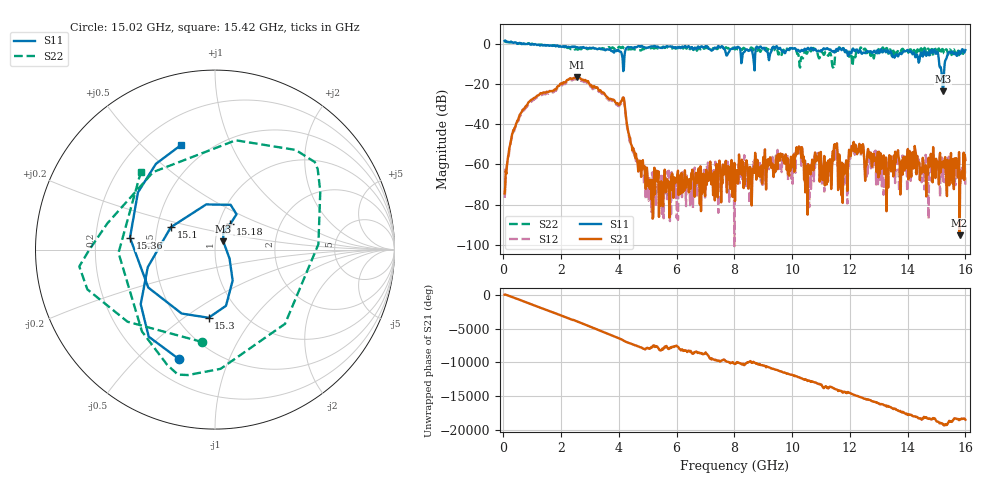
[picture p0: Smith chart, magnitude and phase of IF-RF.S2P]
! C:\Users\Aljaz\OneDrive - Univerza v Ljubljani\DOKTORAT\NOVI SA\MIX1\IF-RF.S2P
! Touchstone 1.1 file saved by VNA.EXE V1.65 (www.ke5fx.com/gpib/readme.htm)
! 23. 07. 2022 09:35:56
!  Source: HP8510C.07.14: Aug 26  1998
!  Min freq: 4.500000E+007 Hz
!  Max freq: 1.600000E+010 Hz
!  Points: 801
!  Params: S11 S21 S12 S22
# GHZ S DB R 50
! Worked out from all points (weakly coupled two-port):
!   801 points, 45 MHz to 16 GHz, reference 50 ohm
!   highest |S21| = -16.57 dB at 2.558 GHz (marker M1); lowest = -95.3 dB at 15.8 GHz (marker M2)
!   lowest |S11| = -23.7 dB at 15.22 GHz (marker M3), VSWR 1.14, Z = 54.5 + j5.17 ohm
!   |S11| at or under -10 dB: 4.14 GHz to 4.182 GHz (41.47 MHz wide, 0.996 % of centre); 8.680172 GHz to 8.709179 GHz (29.01 MHz wide, 0.334 % of centre); 15.09 GHz to 15.28 GHz (187.2 MHz wide, 1.23 % of centre)
!   |S22| runs from -12.4 to 1.3 dB; largest |S21 - S12| = 0.12
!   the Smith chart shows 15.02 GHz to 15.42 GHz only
!   S11 on the Smith chart (normalised r, x): 15.02 GHz: 0.32, -0.67; 15.1 GHz: 0.59, +0.16; 15.18 GHz: 1.13, +0.33; 15.3 GHz: 0.70, -0.62; 15.36 GHz: 0.35, +0.06; 15.42 GHz: 0.36, +0.66
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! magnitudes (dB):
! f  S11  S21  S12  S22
! 45 MHz  1.4  -74.4  -76.6  1.3
! 643.3 MHz  -0.2  -33.8  -34.4  0.1
! 2.558 GHz  -1.7  -16.6  -17.3  -2.8
! 2.717 GHz  -2.1  -17.8  -18.6  -2.6
! 4.133 GHz  -8.0  -27.0  -27.6  -1.6
! 4.632 GHz  -1.6  -57.3  -58.9  -3.1
! 5.37 GHz  -1.7  -63.4  -75.1  -2.0
! 8.023 GHz  -1.8  -78.2  -66.2  -2.9
! 10.22 GHz  -3.1  -52.1  -53.6  -5.2
! 10.69 GHz  -2.5  -57.6  -59.3  -2.5
! 11.77 GHz  -2.3  -60.0  -62.2  -2.2
! 12.39 GHz  -4.5  -54.6  -54.0  -2.0
! 13.35 GHz  -4.6  -57.3  -57.9  -4.9
! 15.02 GHz  -3.8  -58.7  -60.1  -5.7
! 15.1 GHz  -11.2  -56.6  -62.2  -3.1
! 15.18 GHz  -15.6  -61.5  -56.5  -2.9
! 15.22 GHz  -23.7  -61.3  -61.4  -2.8
! 15.3 GHz  -8.4  -56.4  -63.9  -3.5
! 15.36 GHz  -6.4  -75.7  -59.1  -3.2
! 15.42 GHz  -4.3  -60.2  -56.2  -4.5
! 15.8 GHz  -4.4  -95.3  -61.7  -4.8
! 16 GHz  -3.2  -57.8  -70.0  -3.3
